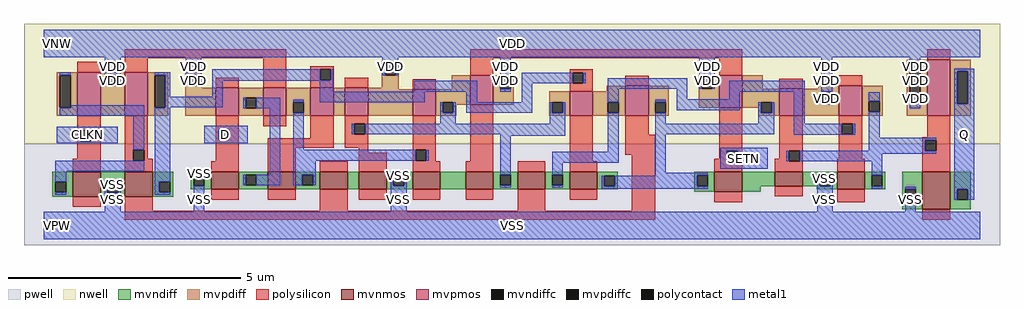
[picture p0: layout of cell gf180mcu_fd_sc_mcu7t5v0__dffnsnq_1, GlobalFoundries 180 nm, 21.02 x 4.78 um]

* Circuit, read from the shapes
.subckt gf180mcu_fd_sc_mcu7t5v0__dffnsnq_1 D SETN CLKN Q VDD VNW VPW VSS
XM1 VSS CLKN n1 VPW nfet_06v0 w=0.54u l=0.6u
XM2 n2 n1 VSS VPW nfet_06v0 w=0.54u l=0.6u
XM3 n3 D VSS VPW nfet_06v0 w=0.38u l=0.6u
XM4 n4 n2 n3 VPW nfet_06v0 w=0.38u l=0.6u
XM5 n5 n1 n4 VPW nfet_06v0 w=0.38u l=0.6u
XM6 VSS n6 n5 VPW nfet_06v0 w=0.38u l=0.6u
XM7 n7 n4 VSS VPW nfet_06v0 w=0.38u l=0.6u
XM8 n6 SETN n7 VPW nfet_06v0 w=0.38u l=0.6u
XM9 n8 n1 n6 VPW nfet_06v0 w=0.38u l=0.6u
XM10 n9 n2 n8 VPW nfet_06v0 w=0.38u l=0.6u
XM11 n10 SETN n9 VPW nfet_06v0 w=0.435u l=0.6u
XM12 VSS n11 n10 VPW nfet_06v0 w=0.31u l=0.6u
XM13 n11 n8 VSS VPW nfet_06v0 w=0.375u l=0.6u
XM14 Q n11 VSS VPW nfet_06v0 w=0.815u l=0.6u
XM15 VDD CLKN n1 VNW pfet_06v0 w=0.94u l=0.5u
XM16 n2 n1 VDD VNW pfet_06v0 w=0.94u l=0.5u
XM17 n3 D VDD VNW pfet_06v0 w=0.605u l=0.5u
XM18 n4 n1 n3 VNW pfet_06v0 w=0.605u l=0.5u
XM19 n12 n2 n4 VNW pfet_06v0 w=0.605u l=0.5u
XM20 VDD n6 n12 VNW pfet_06v0 w=0.605u l=0.5u
XM21 n6 n4 VDD VNW pfet_06v0 w=0.57u l=0.5u
XM22 VDD SETN n6 VNW pfet_06v0 w=0.63u l=0.5u
XM23 n8 n2 n6 VNW pfet_06v0 w=0.535u l=0.5u
XM24 n9 n1 n8 VNW pfet_06v0 w=0.65u l=0.5u
XM25 n9 SETN VDD VNW pfet_06v0 w=0.705u l=0.5u
XM26 VDD n11 n9 VNW pfet_06v0 w=0.58u l=0.5u
XM27 n11 n8 VDD VNW pfet_06v0 w=0.655u l=0.5u
XM28 Q n11 VDD VNW pfet_06v0 w=1.215u l=0.5u
.ends

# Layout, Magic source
magic
tech gf180mcuD
magscale 1 10
<< nwell >>
rect -86 352 4118 870
<< pwell >>
rect -86 -86 4118 352
<< mvnmos >>
rect 124 124 244 232
rect 348 124 468 232
rect 720 156 840 232
rect 964 156 1084 232
rect 1188 156 1308 232
rect 1356 156 1476 232
rect 1588 156 1708 232
rect 1816 156 1936 232
rect 2040 156 2160 232
rect 2264 156 2384 232
rect 2888 145 3008 232
rect 3148 170 3268 232
rect 3416 157 3536 232
rect 3784 69 3904 232
<< mvpmos >>
rect 144 472 244 660
rect 348 472 448 660
rect 740 472 840 593
rect 944 472 1044 593
rect 1148 472 1248 593
rect 1296 472 1396 593
rect 1588 472 1688 586
rect 1836 521 1936 647
rect 2264 472 2364 579
rect 2504 472 2604 602
rect 2908 507 3008 648
rect 3168 472 3268 588
rect 3424 472 3524 603
rect 3804 472 3904 715
<< mvndiff >>
rect 36 189 124 232
rect 36 143 49 189
rect 95 143 124 189
rect 36 124 124 143
rect 244 187 348 232
rect 244 141 273 187
rect 319 141 348 187
rect 244 124 348 141
rect 468 189 556 232
rect 468 143 497 189
rect 543 143 556 189
rect 632 218 720 232
rect 632 172 645 218
rect 691 172 720 218
rect 632 156 720 172
rect 840 219 964 232
rect 840 173 869 219
rect 915 173 964 219
rect 840 156 964 173
rect 1084 219 1188 232
rect 1084 173 1113 219
rect 1159 173 1188 219
rect 1084 156 1188 173
rect 1308 156 1356 232
rect 1476 218 1588 232
rect 1476 172 1505 218
rect 1551 172 1588 218
rect 1476 156 1588 172
rect 1708 156 1816 232
rect 1936 219 2040 232
rect 1936 173 1965 219
rect 2011 173 2040 219
rect 1936 156 2040 173
rect 2160 219 2264 232
rect 2160 173 2189 219
rect 2235 173 2264 219
rect 2160 156 2264 173
rect 2384 215 2472 232
rect 2384 169 2413 215
rect 2459 169 2472 215
rect 2384 156 2472 169
rect 468 124 556 143
rect 2800 216 2888 232
rect 2800 170 2813 216
rect 2859 170 2888 216
rect 2800 145 2888 170
rect 3008 170 3148 232
rect 3268 216 3416 232
rect 3268 170 3341 216
rect 3387 170 3416 216
rect 3008 145 3088 170
rect 3328 157 3416 170
rect 3536 216 3624 232
rect 3536 170 3565 216
rect 3611 170 3624 216
rect 3536 157 3624 170
rect 3696 156 3784 232
rect 3696 110 3709 156
rect 3755 110 3784 156
rect 3696 69 3784 110
rect 3904 156 3992 232
rect 3904 110 3933 156
rect 3979 110 3992 156
rect 3904 69 3992 110
<< mvpdiff >>
rect 56 647 144 660
rect 56 507 69 647
rect 115 507 144 647
rect 56 472 144 507
rect 244 647 348 660
rect 244 601 273 647
rect 319 601 348 647
rect 244 472 348 601
rect 448 647 536 660
rect 448 507 477 647
rect 523 507 536 647
rect 448 472 536 507
rect 608 647 680 660
rect 608 601 621 647
rect 667 601 680 647
rect 608 593 680 601
rect 1456 694 1528 707
rect 1456 648 1469 694
rect 1515 648 1528 694
rect 1456 593 1528 648
rect 608 472 740 593
rect 840 550 944 593
rect 840 504 869 550
rect 915 504 944 550
rect 840 472 944 504
rect 1044 531 1148 593
rect 1044 485 1073 531
rect 1119 485 1148 531
rect 1044 472 1148 485
rect 1248 472 1296 593
rect 1396 586 1528 593
rect 1756 586 1836 647
rect 1396 472 1588 586
rect 1688 531 1836 586
rect 1688 485 1717 531
rect 1763 521 1836 531
rect 1936 634 2024 647
rect 1936 588 1965 634
rect 2011 588 2024 634
rect 1936 521 2024 588
rect 3716 665 3804 715
rect 2820 635 2908 648
rect 2424 579 2504 602
rect 2176 531 2264 579
rect 1763 485 1776 521
rect 1688 472 1776 485
rect 2176 485 2189 531
rect 2235 485 2264 531
rect 2176 472 2264 485
rect 2364 531 2504 579
rect 2364 485 2429 531
rect 2475 485 2504 531
rect 2364 472 2504 485
rect 2604 531 2692 602
rect 2604 485 2633 531
rect 2679 485 2692 531
rect 2820 589 2833 635
rect 2879 589 2908 635
rect 2820 507 2908 589
rect 3008 588 3096 648
rect 3336 588 3424 603
rect 3008 531 3168 588
rect 3008 507 3089 531
rect 2604 472 2692 485
rect 3076 485 3089 507
rect 3135 485 3168 531
rect 3076 472 3168 485
rect 3268 577 3424 588
rect 3268 531 3349 577
rect 3395 531 3424 577
rect 3268 472 3424 531
rect 3524 535 3612 603
rect 3524 489 3553 535
rect 3599 489 3612 535
rect 3524 472 3612 489
rect 3716 525 3729 665
rect 3775 525 3804 665
rect 3716 472 3804 525
rect 3904 665 3992 715
rect 3904 525 3933 665
rect 3979 525 3992 665
rect 3904 472 3992 525
<< mvndiffc >>
rect 49 143 95 189
rect 273 141 319 187
rect 497 143 543 189
rect 645 172 691 218
rect 869 173 915 219
rect 1113 173 1159 219
rect 1505 172 1551 218
rect 1965 173 2011 219
rect 2189 173 2235 219
rect 2413 169 2459 215
rect 2813 170 2859 216
rect 3341 170 3387 216
rect 3565 170 3611 216
rect 3709 110 3755 156
rect 3933 110 3979 156
<< mvpdiffc >>
rect 69 507 115 647
rect 273 601 319 647
rect 477 507 523 647
rect 621 601 667 647
rect 1469 648 1515 694
rect 869 504 915 550
rect 1073 485 1119 531
rect 1717 485 1763 531
rect 1965 588 2011 634
rect 2189 485 2235 531
rect 2429 485 2475 531
rect 2633 485 2679 531
rect 2833 589 2879 635
rect 3089 485 3135 531
rect 3349 531 3395 577
rect 3553 489 3599 535
rect 3729 525 3775 665
rect 3933 525 3979 665
<< polysilicon >>
rect 348 720 1044 760
rect 144 660 244 705
rect 348 660 448 720
rect 740 593 840 637
rect 944 593 1044 720
rect 1836 720 3008 760
rect 1148 672 1248 685
rect 1148 626 1189 672
rect 1235 626 1248 672
rect 1148 593 1248 626
rect 1296 593 1396 637
rect 1836 647 1936 720
rect 2264 659 2364 672
rect 1588 586 1688 630
rect 2264 613 2277 659
rect 2323 613 2364 659
rect 2908 648 3008 720
rect 3804 715 3904 760
rect 2264 579 2364 613
rect 2504 602 2604 646
rect 144 410 244 472
rect 144 364 157 410
rect 203 364 244 410
rect 144 288 244 364
rect 124 232 244 288
rect 348 326 448 472
rect 348 280 385 326
rect 431 288 448 326
rect 740 415 840 472
rect 944 428 1044 472
rect 740 369 753 415
rect 799 369 840 415
rect 1148 376 1248 472
rect 431 280 468 288
rect 348 232 468 280
rect 740 276 840 369
rect 720 232 840 276
rect 964 336 1248 376
rect 1296 439 1396 472
rect 1296 393 1337 439
rect 1383 393 1396 439
rect 1296 336 1396 393
rect 964 232 1084 336
rect 1356 314 1396 336
rect 1588 326 1688 472
rect 1188 232 1308 276
rect 1356 232 1476 314
rect 1588 280 1601 326
rect 1647 280 1688 326
rect 1588 276 1688 280
rect 1836 276 1936 521
rect 3168 588 3268 632
rect 3424 603 3524 648
rect 2264 276 2364 472
rect 2504 392 2604 472
rect 2504 304 2632 392
rect 1588 232 1708 276
rect 1816 232 1936 276
rect 2040 232 2160 276
rect 2264 232 2384 276
rect 124 80 244 124
rect 348 64 468 124
rect 720 112 840 156
rect 964 112 1084 156
rect 1188 64 1308 156
rect 1356 112 1476 156
rect 1588 112 1708 156
rect 1816 112 1936 156
rect 2040 64 2160 156
rect 2264 112 2384 156
rect 2532 64 2632 304
rect 2908 323 3008 507
rect 2908 288 2942 323
rect 2888 277 2942 288
rect 2988 277 3008 323
rect 3168 323 3268 472
rect 3168 288 3209 323
rect 2888 232 3008 277
rect 3148 277 3209 288
rect 3255 277 3268 323
rect 3424 439 3524 472
rect 3424 393 3437 439
rect 3483 393 3524 439
rect 3424 288 3524 393
rect 3804 380 3904 472
rect 3784 367 3904 380
rect 3784 321 3797 367
rect 3843 321 3904 367
rect 3148 232 3268 277
rect 3416 232 3536 288
rect 3784 232 3904 321
rect 2888 101 3008 145
rect 3148 126 3268 170
rect 3416 101 3536 157
rect 348 24 2632 64
rect 3784 24 3904 69
<< polycontact >>
rect 1189 626 1235 672
rect 2277 613 2323 659
rect 157 364 203 410
rect 385 280 431 326
rect 753 369 799 415
rect 1337 393 1383 439
rect 1601 280 1647 326
rect 2942 277 2988 323
rect 3209 277 3255 323
rect 3437 393 3483 439
rect 3797 321 3843 367
<< metal1 >>
rect 0 724 4032 844
rect 69 647 115 660
rect 262 647 330 724
rect 262 601 273 647
rect 319 601 330 647
rect 477 647 543 660
rect 115 507 431 519
rect 69 472 431 507
rect 56 410 318 426
rect 56 364 157 410
rect 203 364 318 410
rect 56 354 318 364
rect 385 326 431 472
rect 385 279 431 280
rect 49 233 431 279
rect 523 555 543 647
rect 610 647 678 724
rect 1458 694 1526 724
rect 610 601 621 647
rect 667 601 678 647
rect 724 626 1189 672
rect 1235 626 1246 672
rect 1458 648 1469 694
rect 1515 648 1526 694
rect 724 624 1246 626
rect 724 555 770 624
rect 523 509 770 555
rect 1188 576 1246 624
rect 1965 634 2011 724
rect 1595 577 1866 623
rect 1965 577 2011 588
rect 2057 613 2277 659
rect 2323 613 2334 659
rect 2822 635 2890 724
rect 1595 576 1641 577
rect 523 507 543 509
rect 49 189 95 233
rect 477 189 543 507
rect 858 504 869 550
rect 915 504 1018 550
rect 690 415 878 430
rect 690 369 753 415
rect 799 369 878 415
rect 690 354 878 369
rect 49 132 95 143
rect 262 141 273 187
rect 319 141 330 187
rect 262 60 330 141
rect 477 143 497 189
rect 477 132 543 143
rect 645 218 691 229
rect 972 219 1018 504
rect 858 173 869 219
rect 915 173 1018 219
rect 1073 531 1119 542
rect 1188 530 1641 576
rect 1820 531 1866 577
rect 2057 531 2103 613
rect 2429 588 2771 635
rect 2822 589 2833 635
rect 2879 589 2890 635
rect 2429 531 2475 588
rect 2725 543 2771 588
rect 2951 577 3276 624
rect 2951 543 2997 577
rect 1073 326 1119 485
rect 1706 485 1717 531
rect 1763 485 1774 531
rect 1820 485 2103 531
rect 2178 485 2189 531
rect 2235 485 2246 531
rect 1706 439 1774 485
rect 2178 439 2246 485
rect 1326 393 1337 439
rect 1383 393 2246 439
rect 1965 386 2246 393
rect 1073 280 1601 326
rect 1647 280 1658 326
rect 1073 279 1658 280
rect 1073 219 1170 279
rect 1073 173 1113 219
rect 1159 173 1170 219
rect 1965 219 2011 386
rect 2429 317 2475 485
rect 645 60 691 172
rect 1494 172 1505 218
rect 1551 172 1562 218
rect 1494 60 1562 172
rect 1965 162 2011 173
rect 2189 271 2475 317
rect 2633 531 2679 542
rect 2725 496 2997 543
rect 2633 439 2679 485
rect 3076 485 3089 531
rect 3135 485 3146 531
rect 3076 439 3146 485
rect 2633 393 3146 439
rect 3230 439 3276 577
rect 3349 577 3395 724
rect 3729 665 3775 724
rect 3349 520 3395 531
rect 3553 535 3599 575
rect 3729 506 3775 525
rect 3922 665 4008 676
rect 3922 525 3933 665
rect 3979 525 4008 665
rect 3230 393 3437 439
rect 3483 393 3494 439
rect 2189 219 2235 271
rect 2633 227 2679 393
rect 3230 392 3494 393
rect 3553 379 3599 489
rect 3553 367 3843 379
rect 2912 323 3118 334
rect 3553 323 3797 367
rect 2912 277 2942 323
rect 2988 277 3118 323
rect 3198 277 3209 323
rect 3255 321 3797 323
rect 3255 309 3843 321
rect 3255 277 3611 309
rect 2912 244 3118 277
rect 2633 216 2859 227
rect 3565 216 3611 277
rect 2633 215 2813 216
rect 2189 162 2235 173
rect 2402 169 2413 215
rect 2459 170 2813 215
rect 2459 169 2859 170
rect 2402 159 2859 169
rect 3330 170 3341 216
rect 3387 170 3398 216
rect 3330 60 3398 170
rect 3565 159 3611 170
rect 3709 156 3755 167
rect 3922 156 4008 525
rect 3922 110 3933 156
rect 3979 110 4008 156
rect 3709 60 3755 110
rect 0 -60 4032 60
<< labels >>
flabel metal1 s 56 354 318 426 0 FreeSans 600 0 0 0 CLKN
port 3 nsew clock input
flabel metal1 s 3922 110 4008 676 0 FreeSans 600 0 0 0 Q
port 4 nsew default output
flabel metal1 s 2912 244 3118 334 0 FreeSans 600 0 0 0 SETN
port 2 nsew default input
flabel metal1 s 0 724 4032 844 0 FreeSans 600 0 0 0 VDD
port 5 nsew power bidirectional abutment
flabel metal1 s 645 218 691 229 0 FreeSans 600 0 0 0 VSS
port 8 nsew ground bidirectional abutment
flabel metal1 s 690 354 878 430 0 FreeSans 600 0 0 0 D
port 1 nsew default input
flabel nwell s 10 734 110 834 0 FreeSans 400 0 0 0 VNW
port 6 nsew power bidirectional
flabel pwell s 10 -50 110 50 0 FreeSans 400 0 0 0 VPW
port 7 nsew ground bidirectional
rlabel metal1 s 3729 648 3775 724 1 VDD
port 5 nsew power bidirectional abutment
rlabel metal1 s 3349 648 3395 724 1 VDD
port 5 nsew power bidirectional abutment
rlabel metal1 s 2822 648 2890 724 1 VDD
port 5 nsew power bidirectional abutment
rlabel metal1 s 1965 648 2011 724 1 VDD
port 5 nsew power bidirectional abutment
rlabel metal1 s 1458 648 1526 724 1 VDD
port 5 nsew power bidirectional abutment
rlabel metal1 s 610 648 678 724 1 VDD
port 5 nsew power bidirectional abutment
rlabel metal1 s 262 648 330 724 1 VDD
port 5 nsew power bidirectional abutment
rlabel metal1 s 3729 601 3775 648 1 VDD
port 5 nsew power bidirectional abutment
rlabel metal1 s 3349 601 3395 648 1 VDD
port 5 nsew power bidirectional abutment
rlabel metal1 s 2822 601 2890 648 1 VDD
port 5 nsew power bidirectional abutment
rlabel metal1 s 1965 601 2011 648 1 VDD
port 5 nsew power bidirectional abutment
rlabel metal1 s 610 601 678 648 1 VDD
port 5 nsew power bidirectional abutment
rlabel metal1 s 262 601 330 648 1 VDD
port 5 nsew power bidirectional abutment
rlabel metal1 s 3729 589 3775 601 1 VDD
port 5 nsew power bidirectional abutment
rlabel metal1 s 3349 589 3395 601 1 VDD
port 5 nsew power bidirectional abutment
rlabel metal1 s 2822 589 2890 601 1 VDD
port 5 nsew power bidirectional abutment
rlabel metal1 s 1965 589 2011 601 1 VDD
port 5 nsew power bidirectional abutment
rlabel metal1 s 3729 577 3775 589 1 VDD
port 5 nsew power bidirectional abutment
rlabel metal1 s 3349 577 3395 589 1 VDD
port 5 nsew power bidirectional abutment
rlabel metal1 s 1965 577 2011 589 1 VDD
port 5 nsew power bidirectional abutment
rlabel metal1 s 3729 520 3775 577 1 VDD
port 5 nsew power bidirectional abutment
rlabel metal1 s 3349 520 3395 577 1 VDD
port 5 nsew power bidirectional abutment
rlabel metal1 s 3729 506 3775 520 1 VDD
port 5 nsew power bidirectional abutment
rlabel metal1 s 1494 216 1562 218 1 VSS
port 8 nsew ground bidirectional abutment
rlabel metal1 s 645 216 691 218 1 VSS
port 8 nsew ground bidirectional abutment
rlabel metal1 s 3330 187 3398 216 1 VSS
port 8 nsew ground bidirectional abutment
rlabel metal1 s 1494 187 1562 216 1 VSS
port 8 nsew ground bidirectional abutment
rlabel metal1 s 645 187 691 216 1 VSS
port 8 nsew ground bidirectional abutment
rlabel metal1 s 3330 167 3398 187 1 VSS
port 8 nsew ground bidirectional abutment
rlabel metal1 s 1494 167 1562 187 1 VSS
port 8 nsew ground bidirectional abutment
rlabel metal1 s 645 167 691 187 1 VSS
port 8 nsew ground bidirectional abutment
rlabel metal1 s 262 167 330 187 1 VSS
port 8 nsew ground bidirectional abutment
rlabel metal1 s 3709 60 3755 167 1 VSS
port 8 nsew ground bidirectional abutment
rlabel metal1 s 3330 60 3398 167 1 VSS
port 8 nsew ground bidirectional abutment
rlabel metal1 s 1494 60 1562 167 1 VSS
port 8 nsew ground bidirectional abutment
rlabel metal1 s 645 60 691 167 1 VSS
port 8 nsew ground bidirectional abutment
rlabel metal1 s 262 60 330 167 1 VSS
port 8 nsew ground bidirectional abutment
rlabel metal1 s 0 -60 4032 60 1 VSS
port 8 nsew ground bidirectional abutment
<< properties >>
string FIXED_BBOX 0 0 4032 784
string GDS_END 949146
string GDS_FILE $PDKPATH/libs.ref/gf180mcu_fd_sc_mcu7t5v0/gds/gf180mcu_fd_sc_mcu7t5v0.gds
string GDS_START 940934
string LEFclass core
string LEFsite GF018hv5v_mcu_sc7
string LEFsymmetry X Y
<< end >>
